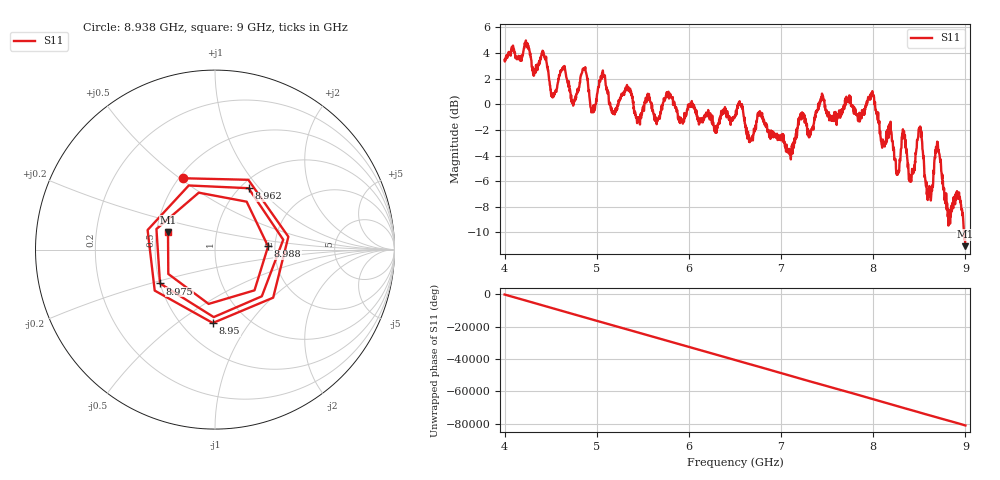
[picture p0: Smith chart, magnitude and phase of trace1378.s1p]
! Created with skrf 1.8.0 (http://scikit-rf.org).
# Hz S RI R 50.0
!freq ReS11 ImS11
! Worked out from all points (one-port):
!   1601 points, 4 GHz to 9 GHz, reference 50 ohm
!   lowest |S11| = -11.1 dB at 9 GHz (marker M1), VSWR 1.78, Z = 28.8 + j6.15 ohm
!   |S11| at or under -10 dB: 8.984619 GHz to end of sweep
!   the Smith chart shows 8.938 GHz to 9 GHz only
!   S11 on the Smith chart (normalised r, x): 8.938 GHz: 0.52, +0.51; 8.95 GHz: 0.70, -0.69; 8.962 GHz: 1.09, +0.88; 8.975 GHz: 0.50, -0.22; 8.988 GHz: 1.84, +0.07; 9 GHz: 0.58, +0.12
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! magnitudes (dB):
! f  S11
! 4 GHz  3.5
! 4.425 GHz  3.8
! 4.525 GHz  0.8
! 4.625 GHz  2.8
! 4.744 GHz  -0.1
! 4.859 GHz  2.8
! 4.956 GHz  -0.3
! 5.062 GHz  2.2
! 5.25 GHz  0.4
! 5.875 GHz  -0.7
! 6.5 GHz  -0.9
! 7.125 GHz  -3.8
! 7.444 GHz  0.8
! 7.75 GHz  0.4
! 7.988 GHz  1.0
! 8.103 GHz  -2.8
! 8.331 GHz  -2.3
! 8.375 GHz  -4.9
! 8.506 GHz  -2.0
! 8.606 GHz  -6.6
! 8.697 GHz  -3.5
! 8.822 GHz  -8.3
! 8.938 GHz  -7.2
! 8.95 GHz  -7.8
! 8.962 GHz  -8.2
! 8.975 GHz  -8.9
! 8.988 GHz  -10.6
! 9 GHz  -11.1
